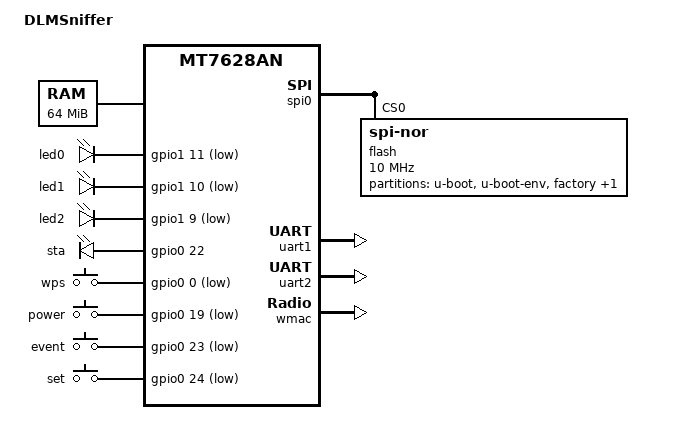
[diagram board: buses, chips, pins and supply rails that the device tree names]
//SPDX-License-Identifier: GPL-2.0-or-later OR MIT
/dts-v1/;

#include "mt7628an.dtsi"

#include <dt-bindings/gpio/gpio.h>
#include <dt-bindings/input/input.h>

/ {
	compatible = "dlmsniffer", "mediatek,mt7628an-soc";
	model = "DLMSniffer";

	chosen {
		bootargs = "console=ttyS0,115200";
	};

	memory@0 {
		device_type = "memory";
		reg = <0x0 0x4000000>;
	};

	aliases {
		led-boot = &led0;
		led-running = &led1;
		led-failsafe = &led2;
		led-upgrade = &led2;
	};

	leds {
		compatible = "gpio-leds";

		led0: led0 {
			label = "led0";
			gpios = <&gpio1 11 GPIO_ACTIVE_LOW>;
		};

		led1: led1 {
			label = "led1";
			gpios = <&gpio1 10 GPIO_ACTIVE_LOW>;
		};

		led2: led2 {
			label = "led2";
			gpios = <&gpio1 9 GPIO_ACTIVE_LOW>;
		};

		sta: sta {
			label = "sta";
			gpios = <&gpio0 22 GPIO_ACTIVE_HIGH>;
		};
	};

	keys {
		compatible = "gpio-keys-polled";
		poll-interval = <10>;

		wps {
			label = "wps";
			gpios = <&gpio0 0 GPIO_ACTIVE_LOW>;
			linux,code = <KEY_WPS_BUTTON>;
		};

		power {
			label = "power";
			gpios = <&gpio0 19 GPIO_ACTIVE_LOW>;
			linux,code = <KEY_POWER>;
		};

		event {
			label = "event";
			gpios = <&gpio0 23 GPIO_ACTIVE_LOW>;
			linux,code = <BTN_0>;
		};

		set {
			label = "set";
			gpios = <&gpio0 24 GPIO_ACTIVE_LOW>;
			linux,code = <BTN_1>;
		};
	};
};

&spi0 {
	status = "okay";

	flash@0 {
		compatible = "jedec,spi-nor";
		reg = <0>;
		spi-max-frequency = <10000000>;

		partitions {
			compatible = "fixed-partitions";
			#address-cells = <1>;
			#size-cells = <1>;

			partition@0 {
				label = "u-boot";
				reg = <0x0 0x30000>;
				read-only;
			};

			partition@30000 {
				label = "u-boot-env";
				reg = <0x30000 0x10000>;
				read-only;
			};

			factory: partition@40000 {
				label = "factory";
				reg = <0x40000 0x10000>;
				read-only;
			};

			partition@50000 {
				compatible = "denx,uimage";
				label = "firmware";
				reg = <0x50000 0x7b0000>;
			};
		};
	};
};

&pinctrl {
	state_default: pinctrl0 {
		gpio {
			ralink,group = "gpio", "wdt", "p4led_an", "p3led_an", "p2led_an", "p1led_an", "p0led_an", "i2c", "i2s", "pwm0", "pwm1", "spi cs1", "sdmode", "spis", "refclk", "perst";
			ralink,function = "gpio";
		};
	};
};

&uart1 {
	status = "okay";
};

&uart2 {
	status = "okay";
};

&wmac {
	status = "okay";
};

&ethernet {
	status = "disabled";
};

&esw {
	status = "disabled";
};
